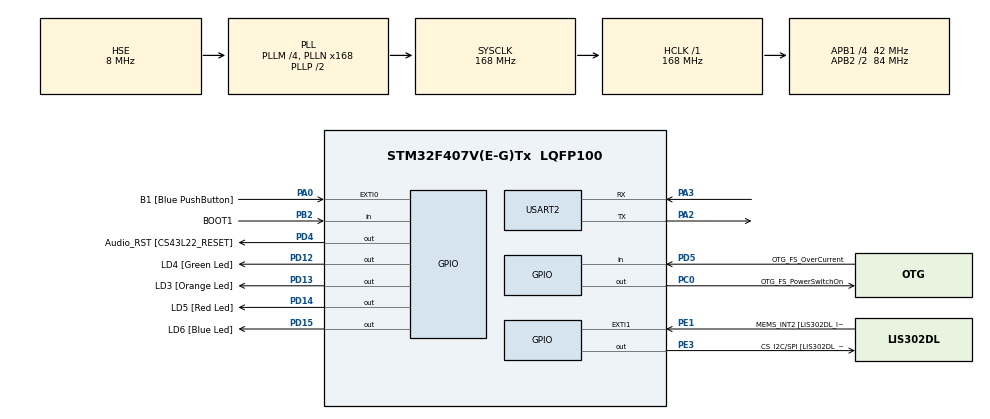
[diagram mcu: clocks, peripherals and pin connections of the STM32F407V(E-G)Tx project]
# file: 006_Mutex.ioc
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Mcu.Family=STM32F4
Mcu.Name=STM32F407V(E-G)Tx
Mcu.Package=LQFP100
NVIC.PriorityGroup=NVIC_PRIORITYGROUP_4
NVIC.TIM6_DAC_IRQn=true\:15\:0\:false\:false\:true\:false\:true\:true
NVIC.TimeBase=TIM6_DAC_IRQn
NVIC.TimeBaseIP=TIM6
PA0-WKUP.GPIO_Label=B1 [Blue PushButton]
PA0-WKUP.Signal=GPXTI0
PA10.GPIO_Label=OTG_FS_ID
PA10.GPIO_Mode=GPIO_MODE_AF_PP
PA10.GPIO_PuPd=GPIO_NOPULL
PA10.GPIO_Speed=GPIO_SPEED_FREQ_LOW
PA10.Signal=USB_OTG_FS_ID
PA11.GPIO_Label=OTG_FS_DM
PA11.GPIO_Mode=GPIO_MODE_AF_PP
PA11.GPIO_PuPd=GPIO_NOPULL
PA11.GPIO_Speed=GPIO_SPEED_FREQ_LOW
PA11.Signal=USB_OTG_FS_DM
PA12.GPIO_Label=OTG_FS_DP
PA12.GPIO_Mode=GPIO_MODE_AF_PP
PA12.GPIO_PuPd=GPIO_NOPULL
PA12.GPIO_Speed=GPIO_SPEED_FREQ_LOW
PA12.Signal=USB_OTG_FS_DP
PA13.GPIO_Label=SWDIO
PA13.Mode=Serial_Wire
PA13.Signal=SYS_JTMS-SWDIO
PA14.GPIO_Label=SWCLK
PA14.Mode=Serial_Wire
PA14.Signal=SYS_JTCK-SWCLK
PA2.Mode=Asynchronous
PA2.Signal=USART2_TX
PA3.Mode=Asynchronous
PA3.Signal=USART2_RX
PA4.GPIO_Label=I2S3_WS [CS43L22_LRCK]
PA4.GPIO_Mode=GPIO_MODE_AF_PP
PA4.GPIO_PuPd=GPIO_NOPULL
PA4.GPIO_Speed=GPIO_SPEED_FREQ_LOW
PA4.Signal=I2S3_WS
PA5.GPIO_Label=SPI1_SCK [LIS302DL_SCL/SPC]
PA5.GPIO_Mode=GPIO_MODE_AF_PP
PA5.GPIO_PuPd=GPIO_NOPULL
PA5.GPIO_Speed=GPIO_SPEED_FREQ_LOW
PA5.Signal=SPI1_SCK
PA6.GPIO_Label=SPI1_MISO [LIS302DL_SDO]
PA6.GPIO_Mode=GPIO_MODE_AF_PP
PA6.GPIO_PuPd=GPIO_NOPULL
PA6.GPIO_Speed=GPIO_SPEED_FREQ_LOW
PA6.Signal=SPI1_MISO
PA7.GPIO_Label=SPI1_MOSI [LIS302DL_SDA/SDI/SDO]
PA7.GPIO_Mode=GPIO_MODE_AF_PP
PA7.GPIO_PuPd=GPIO_NOPULL
PA7.GPIO_Speed=GPIO_SPEED_FREQ_LOW
PA7.Signal=SPI1_MOSI
PA9.GPIO_Label=VBUS_FS
PA9.GPIO_Mode=GPIO_MODE_INPUT
PA9.GPIO_PuPd=GPIO_NOPULL
PA9.Signal=USB_OTG_FS_VBUS
PB10.GPIO_Label=CLK_IN [MP45DT02_CLK]
PB10.GPIO_Mode=GPIO_MODE_AF_PP
PB10.GPIO_PuPd=GPIO_NOPULL
PB10.GPIO_Speed=GPIO_SPEED_FREQ_LOW
PB10.Signal=I2S2_CK
PB2.GPIO_Label=BOOT1
PB2.GPIO_Mode=GPIO_MODE_INPUT
PB2.GPIO_PuPd=GPIO_NOPULL
PB2.Signal=GPIO_Input
PB3.GPIO_Label=SWO
PB3.Signal=SYS_JTDO-SWO
PB6.GPIO_Label=Audio_SCL [CS43L22_SCL]
PB6.GPIO_Mode=GPIO_MODE_AF_OD
PB6.GPIO_PuPd=GPIO_NOPULL
PB6.GPIO_Speed=GPIO_SPEED_FREQ_LOW
PB6.Signal=I2C1_SCL
PB9.GPIO_Label=Audio_SDA [CS43L22_SDA]
PB9.GPIO_Mode=GPIO_MODE_AF_OD
PB9.GPIO_PuPd=GPIO_NOPULL
PB9.GPIO_Speed=GPIO_SPEED_FREQ_LOW
PB9.Signal=I2C1_SDA
PC0.GPIO_Label=OTG_FS_PowerSwitchOn
PC0.GPIO_PuPd=GPIO_NOPULL
PC0.GPIO_Speed=GPIO_SPEED_FREQ_LOW
PC0.PinState=GPIO_PIN_SET
PC0.Signal=GPIO_Output
PC10.GPIO_Label=I2S3_SCK [CS43L22_SCLK]
PC10.GPIO_Mode=GPIO_MODE_AF_PP
PC10.GPIO_PuPd=GPIO_NOPULL
PC10.GPIO_Speed=GPIO_SPEED_FREQ_LOW
PC10.Signal=I2S3_CK
PC12.GPIO_Label=I2S3_SD [CS43L22_SDIN]
PC12.GPIO_Mode=GPIO_MODE_AF_PP
PC12.GPIO_PuPd=GPIO_NOPULL
PC12.GPIO_Speed=GPIO_SPEED_FREQ_LOW
PC12.Signal=I2S3_SD
PC14-OSC32_IN.GPIO_Label=PC14-OSC32_IN
PC14-OSC32_IN.Signal=RCC_OSC32_IN
PC15-OSC32_OUT.GPIO_Label=PC15-OSC32_OUT
PC15-OSC32_OUT.Signal=RCC_OSC32_OUT
PC3.GPIO_Label=PDM_OUT [MP45DT02_DOUT]
PC3.GPIO_Mode=GPIO_MODE_AF_PP
PC3.GPIO_PuPd=GPIO_NOPULL
PC3.GPIO_Speed=GPIO_SPEED_FREQ_LOW
PC3.Signal=I2S2_SD
PC7.GPIO_Label=I2S3_MCK [CS43L22_MCLK]
PC7.GPIO_Mode=GPIO_MODE_AF_PP
PC7.GPIO_PuPd=GPIO_NOPULL
PC7.GPIO_Speed=GPIO_SPEED_FREQ_LOW
PC7.Signal=I2S3_MCK
PD12.GPIO_Label=LD4 [Green Led]
PD12.GPIO_PuPd=GPIO_NOPULL
PD12.GPIO_Speed=GPIO_SPEED_FREQ_LOW
PD12.Signal=GPIO_Output
PD13.GPIO_Label=LD3 [Orange Led]
PD13.GPIO_PuPd=GPIO_NOPULL
PD13.GPIO_Speed=GPIO_SPEED_FREQ_LOW
PD13.Signal=GPIO_Output
PD14.GPIO_Label=LD5 [Red Led]
PD14.GPIO_PuPd=GPIO_NOPULL
PD14.GPIO_Speed=GPIO_SPEED_FREQ_LOW
PD14.Signal=GPIO_Output
PD15.GPIO_Label=LD6 [Blue Led]
PD15.GPIO_PuPd=GPIO_NOPULL
PD15.GPIO_Speed=GPIO_SPEED_FREQ_LOW
PD15.Signal=GPIO_Output
PD4.GPIO_Label=Audio_RST [CS43L22_RESET]
PD4.GPIO_PuPd=GPIO_NOPULL
PD4.GPIO_Speed=GPIO_SPEED_FREQ_LOW
PD4.Signal=GPIO_Output
PD5.GPIO_Label=OTG_FS_OverCurrent
PD5.GPIO_Mode=GPIO_MODE_INPUT
PD5.GPIO_PuPd=GPIO_NOPULL
PD5.Signal=GPIO_Input
PE1.GPIO_Label=MEMS_INT2 [LIS302DL_INT2]
PE1.GPIO_ModeDefaultEXTI=GPIO_MODE_EVT_RISING
PE1.GPIO_PuPd=GPIO_NOPULL
PE1.Signal=GPXTI1
PE3.GPIO_Label=CS_I2C/SPI [LIS302DL_CS_I2C/SPI]
PE3.GPIO_PuPd=GPIO_NOPULL
PE3.GPIO_Speed=GPIO_SPEED_FREQ_LOW
PE3.Signal=GPIO_Output
PH0-OSC_IN.GPIO_Label=PH0-OSC_IN
PH0-OSC_IN.Mode=HSE-External-Oscillator
PH0-OSC_IN.Signal=RCC_OSC_IN
PH1-OSC_OUT.GPIO_Label=PH1-OSC_OUT
PH1-OSC_OUT.Mode=HSE-External-Oscillator
PH1-OSC_OUT.Signal=RCC_OSC_OUT
ProjectManager.HeapSize=0x200
ProjectManager.StackSize=0x400
ProjectManager.TargetToolchain=CMake
RCC.48MHZClocksFreq_Value=48000000
RCC.AHBFreq_Value=168000000
RCC.APB1CLKDivider=RCC_HCLK_DIV4
RCC.APB1Freq_Value=42000000
RCC.APB1TimFreq_Value=84000000
RCC.APB2CLKDivider=RCC_HCLK_DIV2
RCC.APB2Freq_Value=84000000
RCC.APB2TimFreq_Value=168000000
RCC.CortexFreq_Value=168000000
RCC.HCLKFreq_Value=168000000
RCC.HSE_VALUE=8000000
RCC.HSI_VALUE=16000000
RCC.LSE_VALUE=32768
RCC.PLLM=4
RCC.PLLN=168
RCC.PLLQ=7
RCC.PLLSourceVirtual=RCC_PLLSOURCE_HSE
RCC.SYSCLKFreq_VALUE=168000000
RCC.SYSCLKSource=RCC_SYSCLKSOURCE_PLLCLK
RCC.VCOOutputFreq_Value=336000000
USART2.VirtualMode=VM_ASYNC
VP_SYS_VS_tim6.Mode=TIM6
board=STM32F407G-DISC1

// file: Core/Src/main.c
/* USER CODE BEGIN Header */
/**
  ******************************************************************************
  * @file           : main.c
  * @brief          : Main program body
  ******************************************************************************
  * @attention
  *
  * Copyright (c) 2026 STMicroelectronics.
  * All rights reserved.
  *
  * This software is licensed under terms that can be found in the LICENSE file
  * in the root directory of this software component.
  * If no LICENSE file comes with this software, it is provided AS-IS.
  *
  ******************************************************************************
  */
/* USER CODE END Header */
#include "main.h"

/* USER CODE BEGIN Includes */
#include "FreeRTOS.h"
#include "task.h"
#include "semphr.h"
#include <stdio.h>
#include <stdlib.h>
#include <string.h>
/* USER CODE END Includes */

UART_HandleTypeDef huart2;

/* USER CODE BEGIN PV */
TaskHandle_t xTask1;
TaskHandle_t xTask2;
SemaphoreHandle_t xMutex;
/* USER CODE END PV */

void SystemClock_Config(void);
static void MX_GPIO_Init(void);
static void MX_USART2_UART_Init(void);
/* USER CODE BEGIN PFP */
static void print_handler(void * param);
static void printmsg(char *msg);
/* USER CODE END PFP */

int main(void)
{

  /* MCU Configuration--------------------------------------------------------*/

  /* Reset of all peripherals, Initializes the Flash interface and the Systick. */
  HAL_Init();

  /* Configure the system clock */
  SystemClock_Config();

  /* Initialize all configured peripherals */
  MX_GPIO_Init();
  MX_USART2_UART_Init();
  /* USER CODE BEGIN 2 */

  BaseType_t status;

  xMutex = xSemaphoreCreateMutex();
  configASSERT(xMutex != NULL);

  status = xTaskCreate(print_handler, "Print1", 200, "Task 1 ******************************************\r\n", 1, NULL);
  configASSERT(status);

  status = xTaskCreate(print_handler, "Print2", 200, "Task 2 ------------------------------------------\r\n", 2, NULL);
  configASSERT(status);

  vTaskStartScheduler();
  /* USER CODE END 2 */

  /* Infinite loop */
  while (1)
  {

  }
}

void SystemClock_Config(void)
{
  RCC_OscInitTypeDef RCC_OscInitStruct = {0};
  RCC_ClkInitTypeDef RCC_ClkInitStruct = {0};

  /** Configure the main internal regulator output voltage
  */
  __HAL_RCC_PWR_CLK_ENABLE();
  __HAL_PWR_VOLTAGESCALING_CONFIG(PWR_REGULATOR_VOLTAGE_SCALE1);

  /** Initializes the RCC Oscillators according to the specified parameters
  * in the RCC_OscInitTypeDef structure.
  */
  RCC_OscInitStruct.OscillatorType = RCC_OSCILLATORTYPE_HSE;
  RCC_OscInitStruct.HSEState = RCC_HSE_ON;
  RCC_OscInitStruct.PLL.PLLState = RCC_PLL_ON;
  RCC_OscInitStruct.PLL.PLLSource = RCC_PLLSOURCE_HSE;
  RCC_OscInitStruct.PLL.PLLM = 4;
  RCC_OscInitStruct.PLL.PLLN = 168;
  RCC_OscInitStruct.PLL.PLLP = RCC_PLLP_DIV2;
  RCC_OscInitStruct.PLL.PLLQ = 7;
  if (HAL_RCC_OscConfig(&RCC_OscInitStruct) != HAL_OK)
  {
    Error_Handler();
  }

  /** Initializes the CPU, AHB and APB buses clocks
  */
  RCC_ClkInitStruct.ClockType = RCC_CLOCKTYPE_HCLK|RCC_CLOCKTYPE_SYSCLK
                              |RCC_CLOCKTYPE_PCLK1|RCC_CLOCKTYPE_PCLK2;
  RCC_ClkInitStruct.SYSCLKSource = RCC_SYSCLKSOURCE_PLLCLK;
  RCC_ClkInitStruct.AHBCLKDivider = RCC_SYSCLK_DIV1;
  RCC_ClkInitStruct.APB1CLKDivider = RCC_HCLK_DIV4;
  RCC_ClkInitStruct.APB2CLKDivider = RCC_HCLK_DIV2;

  if (HAL_RCC_ClockConfig(&RCC_ClkInitStruct, FLASH_LATENCY_5) != HAL_OK)
  {
    Error_Handler();
  }
}

static void MX_USART2_UART_Init(void)
{

  huart2.Instance = USART2;
  huart2.Init.BaudRate = 115200;
  huart2.Init.WordLength = UART_WORDLENGTH_8B;
  huart2.Init.StopBits = UART_STOPBITS_1;
  huart2.Init.Parity = UART_PARITY_NONE;
  huart2.Init.Mode = UART_MODE_TX_RX;
  huart2.Init.HwFlowCtl = UART_HWCONTROL_NONE;
  huart2.Init.OverSampling = UART_OVERSAMPLING_16;
  if (HAL_UART_Init(&huart2) != HAL_OK)
  {
    Error_Handler();
  }

}

static void MX_GPIO_Init(void)
{
  GPIO_InitTypeDef GPIO_InitStruct = {0};

  /* GPIO Ports Clock Enable */
  __HAL_RCC_GPIOE_CLK_ENABLE();
  __HAL_RCC_GPIOC_CLK_ENABLE();
  __HAL_RCC_GPIOH_CLK_ENABLE();
  __HAL_RCC_GPIOA_CLK_ENABLE();
  __HAL_RCC_GPIOB_CLK_ENABLE();
  __HAL_RCC_GPIOD_CLK_ENABLE();

  /*Configure GPIO pin Output Level */
  HAL_GPIO_WritePin(CS_I2C_SPI_GPIO_Port, CS_I2C_SPI_Pin, GPIO_PIN_RESET);

  /*Configure GPIO pin Output Level */
  HAL_GPIO_WritePin(OTG_FS_PowerSwitchOn_GPIO_Port, OTG_FS_PowerSwitchOn_Pin, GPIO_PIN_SET);

  /*Configure GPIO pin Output Level */
  HAL_GPIO_WritePin(GPIOD, LD4_Pin|LD3_Pin|LD5_Pin|LD6_Pin
                          |Audio_RST_Pin, GPIO_PIN_RESET);

  /*Configure GPIO pin : CS_I2C_SPI_Pin */
  GPIO_InitStruct.Pin = CS_I2C_SPI_Pin;
  GPIO_InitStruct.Mode = GPIO_MODE_OUTPUT_PP;
  GPIO_InitStruct.Pull = GPIO_NOPULL;
  GPIO_InitStruct.Speed = GPIO_SPEED_FREQ_LOW;
  HAL_GPIO_Init(CS_I2C_SPI_GPIO_Port, &GPIO_InitStruct);

  /*Configure GPIO pin : OTG_FS_PowerSwitchOn_Pin */
  GPIO_InitStruct.Pin = OTG_FS_PowerSwitchOn_Pin;
  GPIO_InitStruct.Mode = GPIO_MODE_OUTPUT_PP;
  GPIO_InitStruct.Pull = GPIO_NOPULL;
  GPIO_InitStruct.Speed = GPIO_SPEED_FREQ_LOW;
  HAL_GPIO_Init(OTG_FS_PowerSwitchOn_GPIO_Port, &GPIO_InitStruct);

  /*Configure GPIO pin : PDM_OUT_Pin */
  GPIO_InitStruct.Pin = PDM_OUT_Pin;
  GPIO_InitStruct.Mode = GPIO_MODE_AF_PP;
  GPIO_InitStruct.Pull = GPIO_NOPULL;
  GPIO_InitStruct.Speed = GPIO_SPEED_FREQ_LOW;
  GPIO_InitStruct.Alternate = GPIO_AF5_SPI2;
  HAL_GPIO_Init(PDM_OUT_GPIO_Port, &GPIO_InitStruct);

  /*Configure GPIO pin : B1_Pin */
  GPIO_InitStruct.Pin = B1_Pin;
  GPIO_InitStruct.Mode = GPIO_MODE_IT_RISING;
  GPIO_InitStruct.Pull = GPIO_NOPULL;
  HAL_GPIO_Init(B1_GPIO_Port, &GPIO_InitStruct);

  /*Configure GPIO pin : I2S3_WS_Pin */
  GPIO_InitStruct.Pin = I2S3_WS_Pin;
  GPIO_InitStruct.Mode = GPIO_MODE_AF_PP;
  GPIO_InitStruct.Pull = GPIO_NOPULL;
  GPIO_InitStruct.Speed = GPIO_SPEED_FREQ_LOW;
  GPIO_InitStruct.Alternate = GPIO_AF6_SPI3;
  HAL_GPIO_Init(I2S3_WS_GPIO_Port, &GPIO_InitStruct);

  /*Configure GPIO pins : SPI1_SCK_Pin SPI1_MISO_Pin SPI1_MOSI_Pin */
  GPIO_InitStruct.Pin = SPI1_SCK_Pin|SPI1_MISO_Pin|SPI1_MOSI_Pin;
  GPIO_InitStruct.Mode = GPIO_MODE_AF_PP;
  GPIO_InitStruct.Pull = GPIO_NOPULL;
  GPIO_InitStruct.Speed = GPIO_SPEED_FREQ_LOW;
  GPIO_InitStruct.Alternate = GPIO_AF5_SPI1;
  HAL_GPIO_Init(GPIOA, &GPIO_InitStruct);

  /*Configure GPIO pin : BOOT1_Pin */
  GPIO_InitStruct.Pin = BOOT1_Pin;
  GPIO_InitStruct.Mode = GPIO_MODE_INPUT;
  GPIO_InitStruct.Pull = GPIO_NOPULL;
  HAL_GPIO_Init(BOOT1_GPIO_Port, &GPIO_InitStruct);

  /*Configure GPIO pin : CLK_IN_Pin */
  GPIO_InitStruct.Pin = CLK_IN_Pin;
  GPIO_InitStruct.Mode = GPIO_MODE_AF_PP;
  GPIO_InitStruct.Pull = GPIO_NOPULL;
  GPIO_InitStruct.Speed = GPIO_SPEED_FREQ_LOW;
  GPIO_InitStruct.Alternate = GPIO_AF5_SPI2;
  HAL_GPIO_Init(CLK_IN_GPIO_Port, &GPIO_InitStruct);

  /*Configure GPIO pins : LD4_Pin LD3_Pin LD5_Pin LD6_Pin
                           Audio_RST_Pin */
  GPIO_InitStruct.Pin = LD4_Pin|LD3_Pin|LD5_Pin|LD6_Pin
                          |Audio_RST_Pin;
  GPIO_InitStruct.Mode = GPIO_MODE_OUTPUT_PP;
  GPIO_InitStruct.Pull = GPIO_NOPULL;
  GPIO_InitStruct.Speed = GPIO_SPEED_FREQ_LOW;
  HAL_GPIO_Init(GPIOD, &GPIO_InitStruct);

  /*Configure GPIO pins : I2S3_MCK_Pin I2S3_SCK_Pin I2S3_SD_Pin */
  GPIO_InitStruct.Pin = I2S3_MCK_Pin|I2S3_SCK_Pin|I2S3_SD_Pin;
  GPIO_InitStruct.Mode = GPIO_MODE_AF_PP;
  GPIO_InitStruct.Pull = GPIO_NOPULL;
  GPIO_InitStruct.Speed = GPIO_SPEED_FREQ_LOW;
  GPIO_InitStruct.Alternate = GPIO_AF6_SPI3;
  HAL_GPIO_Init(GPIOC, &GPIO_InitStruct);

  /*Configure GPIO pin : VBUS_FS_Pin */
  GPIO_InitStruct.Pin = VBUS_FS_Pin;
  GPIO_InitStruct.Mode = GPIO_MODE_INPUT;
  GPIO_InitStruct.Pull = GPIO_NOPULL;
  HAL_GPIO_Init(VBUS_FS_GPIO_Port, &GPIO_InitStruct);

  /*Configure GPIO pins : OTG_FS_ID_Pin OTG_FS_DM_Pin OTG_FS_DP_Pin */
  GPIO_InitStruct.Pin = OTG_FS_ID_Pin|OTG_FS_DM_Pin|OTG_FS_DP_Pin;
  GPIO_InitStruct.Mode = GPIO_MODE_AF_PP;
  GPIO_InitStruct.Pull = GPIO_NOPULL;
  GPIO_InitStruct.Speed = GPIO_SPEED_FREQ_LOW;
  GPIO_InitStruct.Alternate = GPIO_AF10_OTG_FS;
  HAL_GPIO_Init(GPIOA, &GPIO_InitStruct);

  /*Configure GPIO pin : OTG_FS_OverCurrent_Pin */
  GPIO_InitStruct.Pin = OTG_FS_OverCurrent_Pin;
  GPIO_InitStruct.Mode = GPIO_MODE_INPUT;
  GPIO_InitStruct.Pull = GPIO_NOPULL;
  HAL_GPIO_Init(OTG_FS_OverCurrent_GPIO_Port, &GPIO_InitStruct);

  /*Configure GPIO pins : Audio_SCL_Pin Audio_SDA_Pin */
  GPIO_InitStruct.Pin = Audio_SCL_Pin|Audio_SDA_Pin;
  GPIO_InitStruct.Mode = GPIO_MODE_AF_OD;
  GPIO_InitStruct.Pull = GPIO_NOPULL;
  GPIO_InitStruct.Speed = GPIO_SPEED_FREQ_LOW;
  GPIO_InitStruct.Alternate = GPIO_AF4_I2C1;
  HAL_GPIO_Init(GPIOB, &GPIO_InitStruct);

  /*Configure GPIO pin : MEMS_INT2_Pin */
  GPIO_InitStruct.Pin = MEMS_INT2_Pin;
  GPIO_InitStruct.Mode = GPIO_MODE_EVT_RISING;
  GPIO_InitStruct.Pull = GPIO_NOPULL;
  HAL_GPIO_Init(MEMS_INT2_GPIO_Port, &GPIO_InitStruct);

}

/* USER CODE BEGIN 4 */
static void print_handler(void *param)
{
  static char buffer[60];

  while (1)
  {
    xSemaphoreTake(xMutex, portMAX_DELAY);
    sprintf(buffer, "%s", param);
    printmsg(buffer);
    xSemaphoreGive(xMutex);
    vTaskDelay( rand() & 0XF );
  }

}

static void printmsg(char *msg)
{
  for(uint32_t i=0; i < strlen(msg); i++)
  {
    while ( (USART2->SR & USART_SR_TXE) == (uint16_t)RESET);
   USART2->DR = msg[i] & (uint16_t) 0x01FF;
  }

  while ( (USART2->SR & USART_SR_TC) == (uint16_t)RESET);
}
/* USER CODE END 4 */

void HAL_TIM_PeriodElapsedCallback(TIM_HandleTypeDef *htim)
{
  if (htim->Instance == TIM6)
  {
    HAL_IncTick();
  }
}

void Error_Handler(void)
{
  __disable_irq();
  while (1)
  {
  }
}
